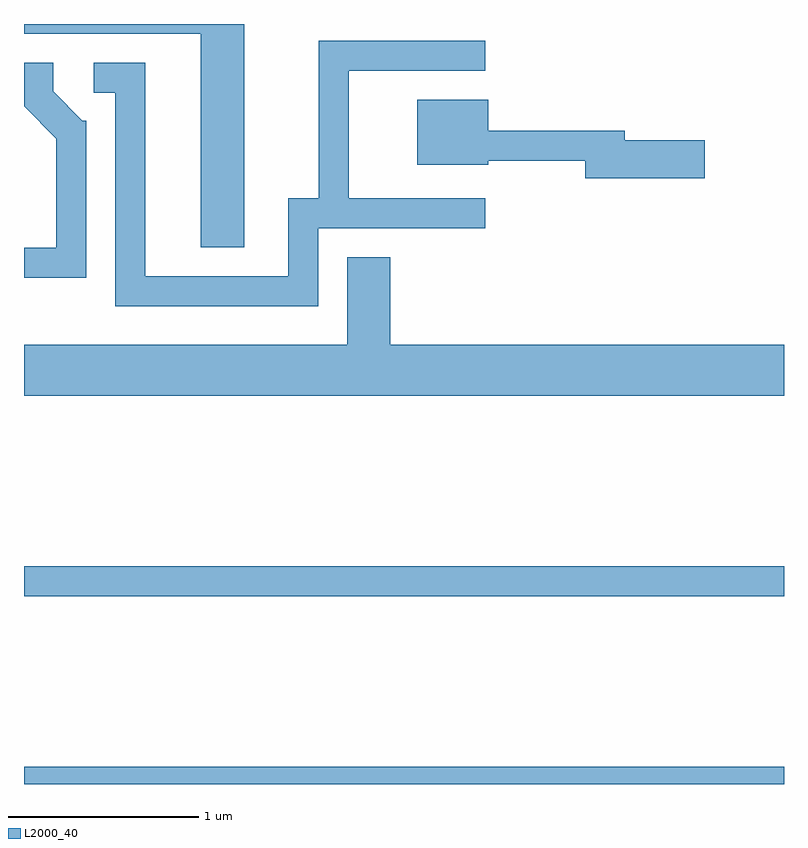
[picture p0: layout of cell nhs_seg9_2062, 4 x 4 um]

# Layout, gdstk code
import gdstk
lib = gdstk.Library(unit=1e-6, precision=1e-09)
def R(c, l, rs):  # rectangles x0, y0, x1, y1
    for r in rs: c.add(gdstk.rectangle(r[:2], r[2:], *l))
def P(c, l, *ps):  # polygons
    for p in ps: c.add(gdstk.Polygon(p, *l))
L2000_40 = (2000, 40)

nhs_seg9_2062 = lib.new_cell('nhs_seg9_2062')
R(nhs_seg9_2062, L2000_40, [(245.611,1996.432,249.611,1996.524), (245.611,1997.421,249.611,1997.579)])
P(nhs_seg9_2062, L2000_40, [(246.769,2000.432),(245.611,2000.432),(245.611,2000.381),(246.541,2000.381),(246.541,1999.256),(246.769,1999.256)],
  [(247.159,1999.356),(248.038,1999.356),(248.038,1999.514),(247.319,1999.514),(247.319,2000.186),(248.038,2000.186),(248.038,2000.344),(247.161,2000.344),(247.161,1999.514),(247.001,1999.514),(247.001,1999.104),(246.249,1999.104),(246.249,2000.229),(245.978,2000.229),(245.978,2000.071),(246.091,2000.071),(246.091,1998.946),(247.159,1998.946)],
  [(245.939,1999.924),(245.917,1999.924),(245.764,2000.077),(245.764,2000.229),(245.611,2000.229),(245.611,1999.999),(245.781,1999.829),(245.781,1999.254),(245.611,1999.254),(245.611,1999.096),(245.939,1999.096)],
  [(249.194,1999.819),(248.774,1999.819),(248.774,1999.869),(248.054,1999.869),(248.054,2000.034),(247.681,2000.034),(247.681,1999.691),(248.054,1999.691),(248.054,1999.711),(248.566,1999.711),(248.566,1999.621),(249.194,1999.621)],
  [(249.611,1998.744),(247.539,1998.744),(247.539,1999.204),(247.311,1999.204),(247.311,1998.744),(245.611,1998.744),(245.611,1998.476),(249.611,1998.476)])

lib.write_gds('nhs_seg9_2062.gds')
